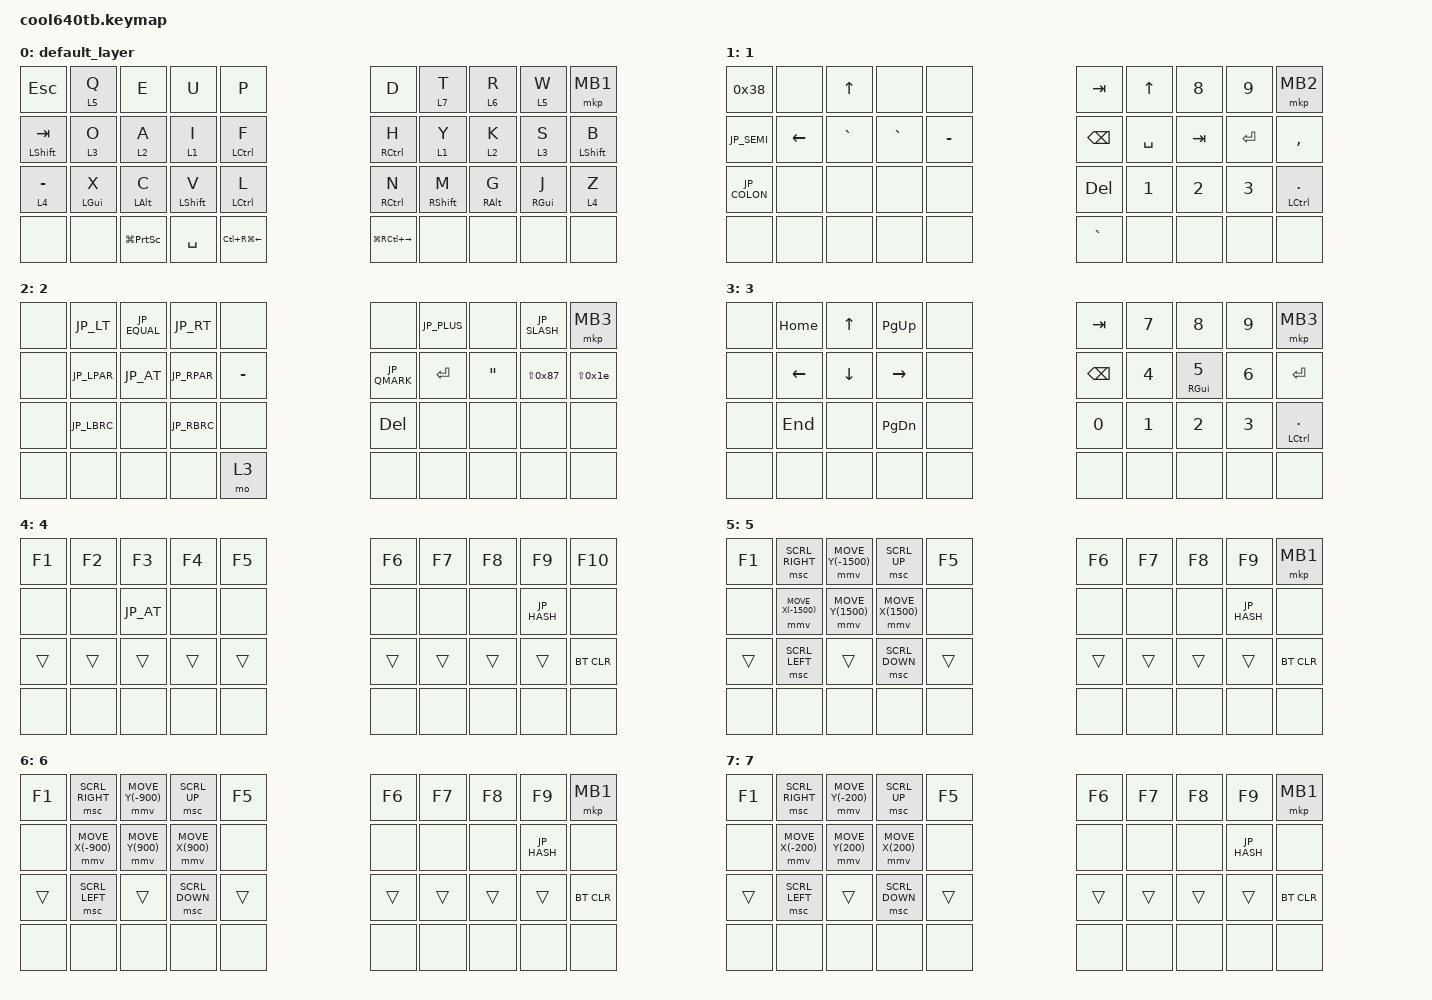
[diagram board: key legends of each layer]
#define ZMK_POINTING_DEFAULT_MOVE_VAL 2000 // default: 600
#define ZMK_POINTING_DEFAULT_SCRL_VAL 30    // default: 10

#include <behaviors.dtsi>
#include <dt-bindings/zmk/bt.h>
#include <dt-bindings/zmk/keys.h>
#include <dt-bindings/zmk/pointing.h>
#include "keycode_japanese.h"

&msc {
    acceleration-exponent = <0>;      // 0
    time-to-max-speed-ms = <0>;       // 300
    delay-ms = <0>;                   // 0
};

&mmv {
    time-to-max-speed-ms = <0>;
    acceleration-exponent = <0>;
    trigger-period-ms = <10>;
    delay-ms = <0>;
};

&mt { 
    flavor = "balanced"; 
    tapping-term-ms = <200>;
    quick-tap-ms = <150>; 
};

&lt {
    flavor = "balanced";
    tapping-term-ms = <200>; 
    quick-tap-ms = <150>; 
};


// 複数キーの同時押しに特別の入力を設定できる
    // キー番号早見表：
    // 0  1  2  3  4           5  6  7  8  9
    // 10 11 12 13 14          15 16 17 18 19
    // 20 21 22 23 24          25 26 27 28 29 
    // 30 31 32 33 34          35 36 37 38 39

/ {
    combos {
        compatible = "zmk,combos";

        hankaku {
            bindings = <&kp GRAVE>;
            key-positions = <1 3>;
            layers = <0>;
            timeout-ms = <200>;
        };

        fopen {
            bindings = <&kp LG(N2)>;
            key-positions = <5 9>;
            layers = <0>;
            timeout-ms = <200>;
        };

       bootloader {
            bindings = <&bootloader>;
            key-positions = <0 9 30 39>;
            timeout-ms = <200>;
        };



        btcl {
            bindings = <&bt BT_CLR_ALL>;
            key-positions = <0 10 20 30>;
            layers = <0>;
        };

        bt0 {
            bindings = <&bt BT_SEL 0>;
            key-positions = <5 15 25 35>;
            layers = <0>;
        };

        bt1 {
            bindings = <&bt BT_SEL 1>;
            key-positions = <6 16 26 36>;
            layers = <0>;
        };

        bt2 {
            bindings = <&bt BT_SEL 2>;
            key-positions = <7 17 27 37>;
            layers = <0>;
        };

        mute {
            bindings = <&kp C_MUTE>;
            key-positions = <13 14>;
            layers = <0>;
        };

        vup {
            bindings = <&kp C_VOL_UP>;
            key-positions = <3 4>;
            layers = <0>;
        };

        vdn {
            bindings = <&kp C_VOL_DN>;
            key-positions = <23 24>;
            layers = <0>;
        };

        lspace{
            bindings = <&kp SPACE>;
            key-positions = <11 13>;
        };

    };



    keymap {
        compatible = "zmk,keymap";

        default_layer {
            bindings = <
&kp ESCAPE          &lt 5 Q        &kp E      &kp U         &kp P                                    &kp D        &lt 7 T         &lt 6 R       &lt 5 W       &mkp MB1

&mt LSHIFT TAB      &lt 3 O        &lt 2 A      &lt 1 I         &mt LCTRL F                             &mt RCTRL H  &lt 1 Y         &lt 2 K       &lt 3 S       &mt LEFT_SHIFT B

&lt 4 MINUS    &mt LGUI X   &mt LALT C &mt LSHIFT V  &mt LCTRL L                                   &mt RCTRL N        &mt RSHIFT M  &mt RALT G  &mt RGUI J  &lt 4 Z

&none              &none         &kp LG(PSCRN)     &kp SPACE         &kp LC(RG(LEFT))        &kp LG(RC(RIGHT))     &none     &none       &none        &none
            >;
        };

        1 {
            bindings = <
&kp 0x38     &none      &kp UP     &none       &none                                 &kp TAB          &kp UP          &kp N8        &kp N9         &mkp MB2
   &kp JP_SEMI  &kp LEFT   &kp GRAVE  &kp GRAVE   &kp MINUS                             &kp BACKSPACE  &kp SPACE       &kp TAB       &kp ENTER      &kp COMMA 
   &kp JP_COLON &none      &none      &none       &none                                 &kp DELETE     &kp N1          &kp N2        &kp N3         &mt LCTRL PERIOD

&none           &none       &none  &none  &none                                        &kp GRAVE      &none  &none                 &none                 &none
            >;
        };

        2 {
            bindings = <
&none        &kp JP_LT      &kp JP_EQUAL   &kp JP_RT  &none                                        &none          &kp JP_PLUS     &none        &kp JP_SLASH  &mkp MB3
&none        &kp JP_LPAR    &kp JP_AT      &kp JP_RPAR   &kp MINUS                                 &kp JP_QMARK   &kp ENTER  &kp DOUBLE_QUOTES &kp LS(0x87)  &kp LS(0x1e)
&none        &kp JP_LBRC    &none          &kp JP_RBRC   &none                                     &kp DELETE          &none           &none         &none         &none

&none       &none   &none   &none   &mo 3                                         &none          &none    &none   &none           &none
            >;
        };

        3 {
            bindings = <
&none        &kp HOME   &kp UP     &kp PAGE_UP      &none                                 &kp TAB          &kp N7          &kp N8        &kp N9         &mkp MB3
&none        &kp LEFT   &kp DOWN   &kp RIGHT        &none                                 &kp BACKSPACE  &kp N4          &mt RGUI N5        &kp N6         &kp ENTER
&none        &kp END    &none      &kp PAGE_DOWN    &none                                 &kp N0         &kp N1          &kp N2        &kp N3         &mt LCTRL PERIOD

&none       &none   &none   &none   &none                                         &none          &none    &none   &none           &none
            >;
        };


        4{
            bindings = <
&kp F1  &kp F2  &kp F3  &kp F4  &kp F5                  &kp F6  &kp F7  &kp F8  &kp F9  &kp F10
&none   &none   &kp JP_AT   &none   &none                   &none   &none   &none   &kp JP_HASH   &none
&trans  &trans  &trans  &trans  &trans                                     &trans        &trans        &trans        &trans        &bt BT_CLR

&none       &none   &none   &none   &none                                         &none          &none    &none   &none           &none
            >;
        };

        5{
            bindings = <
&kp F1  &msc SCRL_RIGHT   &mmv MOVE_Y(-1500)     &msc SCRL_UP  &kp F5                  &kp F6  &kp F7  &kp F8  &kp F9  &mkp MB1
&none      &mmv MOVE_X(-1500) &mmv MOVE_Y(1500)    &mmv MOVE_X(1500)    &none                    &none   &none   &none   &kp JP_HASH   &none
&trans  &msc SCRL_LEFT   &trans           &msc SCRL_DOWN  &trans                                     &trans        &trans        &trans        &trans        &bt BT_CLR

&none       &none   &none   &none   &none                                         &none          &none    &none   &none           &none
            >;
        };

        6{
            bindings = <
&kp F1  &msc SCRL_RIGHT   &mmv MOVE_Y(-900)     &msc SCRL_UP  &kp F5                  &kp F6  &kp F7  &kp F8  &kp F9  &mkp MB1
&none      &mmv MOVE_X(-900) &mmv MOVE_Y(900)    &mmv MOVE_X(900)    &none                    &none   &none   &none   &kp JP_HASH   &none
&trans  &msc SCRL_LEFT   &trans           &msc SCRL_DOWN  &trans                                     &trans        &trans        &trans        &trans        &bt BT_CLR

&none       &none   &none   &none   &none                                         &none          &none    &none   &none           &none
            >;
        };

        7{
            bindings = <
&kp F1  &msc SCRL_RIGHT   &mmv MOVE_Y(-200)     &msc SCRL_UP  &kp F5                  &kp F6  &kp F7  &kp F8  &kp F9  &mkp MB1
&none      &mmv MOVE_X(-200) &mmv MOVE_Y(200)    &mmv MOVE_X(200)    &none                    &none   &none   &none   &kp JP_HASH   &none
&trans  &msc SCRL_LEFT   &trans           &msc SCRL_DOWN  &trans                                     &trans        &trans        &trans        &trans        &bt BT_CLR

&none       &none   &none   &none   &none                                         &none          &none    &none   &none           &none
            >;
        };
    };
};
